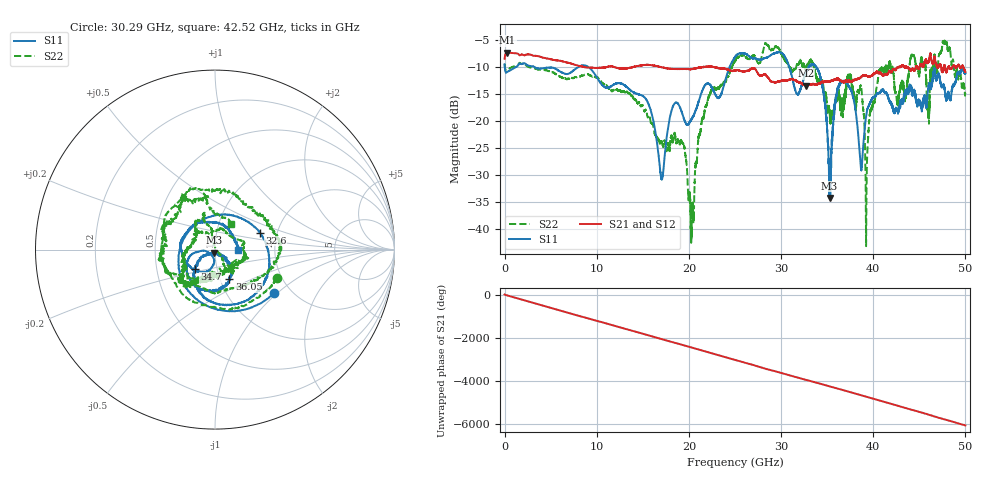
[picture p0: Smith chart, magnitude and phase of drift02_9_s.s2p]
!Created with skrf (http://scikit-rf.org).
# Hz S RI R 50.0
!freq ReS11 ImS11 ReS21 ImS21 ReS12 ImS12 ReS22 ImS22
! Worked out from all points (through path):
!   10001 points, 300 kHz to 50 GHz, reference 50 ohm
!   highest |S21| = -7.31 dB at 310.3 MHz (marker M1); lowest = -13.4 dB at 32.71 GHz (marker M2)
!   group delay of S21, straight-line fit = 335 ps
!   lowest |S11| = -34.3 dB at 35.26 GHz (marker M3), VSWR 1.04, Z = 49.2 - j1.76 ohm
!   |S11| at or under -10 dB: 3.239 GHz to 8.007 GHz (4.768 GHz wide, 84.8 % of centre); 9.094 GHz to 24.41 GHz (15.32 GHz wide, 91.4 % of centre); 33.83 GHz to end of sweep (the widest 3 of 10)
!   |S22| runs from -43.2 to -5.1 dB; largest |S21 - S12| = 0.014
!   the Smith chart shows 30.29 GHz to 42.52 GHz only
!   S11 on the Smith chart (normalised r, x): 30.29 GHz: 1.65, -0.95; 32.6 GHz: 1.62, +0.33; 34.7 GHz: 0.78, -0.17; 36.05 GHz: 1.11, -0.37; 42.52 GHz: 1.29, -0.00
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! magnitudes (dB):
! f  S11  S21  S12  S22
! 300 kHz  -9.5  -8.5  -8.5  -9.5
! 310.3 MHz  -10.9  -7.3  -7.3  -10.6
! 8.335 GHz  -9.7  -9.9  -9.9  -11.6
! 16.67 GHz  -25.9  -9.9  -9.9  -23.3
! 19.32 GHz  -18.8  -10.4  -10.4  -24.2
! 20.34 GHz  -19.5  -10.4  -10.4  -36.9
! 21.94 GHz  -13.1  -10.0  -10.0  -17.0
! 25 GHz  -8.2  -10.7  -10.7  -8.9
! 30.29 GHz  -7.8  -12.5  -12.7  -8.4
! 32.6 GHz  -11.5  -13.3  -13.4  -10.5
! 32.71 GHz  -11.0  -13.4  -13.5  -10.3
! 33.34 GHz  -9.6  -13.1  -13.2  -8.9
! 34.7 GHz  -16.1  -12.7  -12.7  -14.7
! 35.26 GHz  -34.3  -12.6  -12.6  -18.4
! 36.05 GHz  -14.8  -12.3  -12.1  -16.0
! 37.59 GHz  -14.3  -12.7  -12.7  -12.4
! 38.58 GHz  -27.1  -12.0  -12.0  -13.7
! 39.3 GHz  -18.3  -11.6  -11.7  -29.4
! 41.67 GHz  -15.9  -11.0  -11.1  -9.7
! 42.52 GHz  -17.8  -10.3  -10.2  -15.5
! 47.75 GHz  -14.1  -9.6  -9.7  -5.4
! 50 GHz  -11.2  -10.9  -10.9  -15.0
